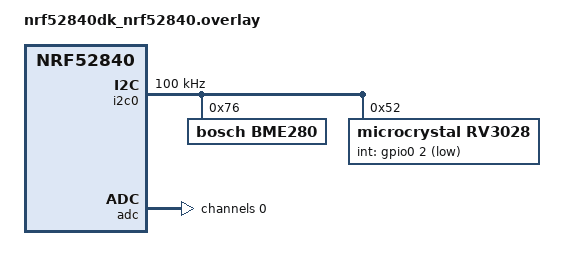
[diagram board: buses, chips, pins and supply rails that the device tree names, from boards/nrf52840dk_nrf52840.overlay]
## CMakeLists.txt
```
# SPDX-License-Identifier: Apache-2.0

cmake_minimum_required(VERSION 3.20.0)

find_package(Zephyr REQUIRED HINTS $ENV{ZEPHYR_BASE})
project(temp_sensor)

target_sources(app PRIVATE src/main.c)
target_sources(app PRIVATE src/bme280.c)
target_sources(app PRIVATE src/battery_monitor.c)
target_sources(app PRIVATE src/rv3028.c)
target_sources(app PRIVATE src/adaptive_scheduler.c)
target_sources(app PRIVATE src/ble_advertiser.c)
```

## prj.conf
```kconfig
# BLE Configuration
CONFIG_BT=y
CONFIG_BT_PERIPHERAL=y
CONFIG_BT_BROADCASTER=y
CONFIG_BT_CTLR_TX_PWR_PLUS_8=y

# I2C for BME280
CONFIG_I2C=y
CONFIG_I2C_0=y

# ADC for battery monitoring
CONFIG_ADC=y
CONFIG_ADC_ASYNC=y

# Power management
CONFIG_PM=y
CONFIG_PM_DEVICE=y
CONFIG_PM_DEVICE_POWER_DOMAIN=y

# RTC for wake-up timing
CONFIG_RTC=y
CONFIG_RTC_DRIVER=y

# Logging
CONFIG_LOG=y
CONFIG_LOG_DEFAULT_LEVEL=3

# GPIO
CONFIG_GPIO=y

# System settings
CONFIG_SERIAL=y
CONFIG_UART_CONSOLE=y
CONFIG_CONSOLE=y

# BLE advertising
CONFIG_BT_DEVICE_NAME="TempSensor"
CONFIG_BT_DEVICE_APPEARANCE=0x0540

# Power optimization
CONFIG_PM_DEVICE_RUNTIME=y
CONFIG_PM_DEVICE_POWER_DOMAIN_DYNAMIC=y
```

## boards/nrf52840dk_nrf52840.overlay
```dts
/ {
    chosen {
        zephyr,i2c = &i2c0;
        zephyr,adc = &adc;
        zephyr,rtc = &rtc0;
    };
    
    aliases {
        rtc_int = &gpio0;
    };
};

&i2c0 {
    status = "okay";
    clock-frequency = <I2C_BITRATE_STANDARD>;
    
    bme280@76 {
        compatible = "bosch,bme280";
        reg = <0x76>;
        label = "BME280";
    };
    
    rv3028@52 {
        compatible = "microcrystal,rv3028";
        reg = <0x52>;
        label = "RV3028";
        int-gpios = <&gpio0 2 GPIO_ACTIVE_LOW>;
    };
};

&adc {
    status = "okay";
    #address-cells = <1>;
    #size-cells = <0>;
    
    channel@0 {
        reg = <0>;
        zephyr,gain = "ADC_GAIN_1_4";
        zephyr,reference = "ADC_REF_INTERNAL";
        zephyr,acquisition-time = <ADC_ACQ_TIME_DEFAULT>;
        zephyr,input-positive = <2>;  /* P0.02 for VBAT_SENSE */
        zephyr,resolution = <12>;
    };
};

&gpio0 {
    status = "okay";
    
    /* RTC clock output on P0.03 */
    rtc-clockout {
        gpios = <&gpio0 3 GPIO_ACTIVE_HIGH>;
        label = "RTC_CLOCKOUT";
    };
};

&gpio1 {
    status = "okay";
};
```

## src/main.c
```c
#include <zephyr/kernel.h>
#include <zephyr/device.h>
#include <zephyr/drivers/i2c.h>
#include <zephyr/drivers/adc.h>
#include <zephyr/drivers/rtc.h>
#include <zephyr/bluetooth/bluetooth.h>
#include <zephyr/bluetooth/hci.h>
#include <zephyr/logging/log.h>
#include <zephyr/pm/pm.h>
#include <zephyr/pm/device.h>
#include <zephyr/pm/policy.h>

#include "bme280.h"
#include "battery_monitor.h"
#include "rv3028.h"
#include "adaptive_scheduler.h"
#include "ble_advertiser.h"

LOG_MODULE_REGISTER(main, LOG_LEVEL_INF);

// Power management callback
static void pm_state_set(enum pm_state state, uint8_t substate_id)
{
    ARG_UNUSED(substate_id);
    LOG_INF("Entering power state %d", state);
}

static void pm_state_exit_post_ops(enum pm_state state, uint8_t substate_id)
{
    ARG_UNUSED(state);
    ARG_UNUSED(substate_id);
    LOG_INF("Exiting power state");
}

// Power management callbacks
PM_STATE_SET_AND_EXIT_POST_OPS(pm_state_set, pm_state_exit_post_ops);

// Main application thread
static void main_thread(void)
{
    int ret;
    struct bme280_data sensor_data;
    uint16_t battery_mv;
    power_tier_t current_tier;
    uint32_t next_wake_interval;

    LOG_INF("Temperature Sensor Node Starting...");

    // Initialize subsystems
    ret = bme280_init();
    if (ret != 0) {
        LOG_ERR("Failed to initialize BME280: %d", ret);
        return;
    }

    ret = battery_monitor_init();
    if (ret != 0) {
        LOG_ERR("Failed to initialize battery monitor: %d", ret);
        return;
    }

    ret = adaptive_scheduler_init();
    if (ret != 0) {
        LOG_ERR("Failed to initialize adaptive scheduler: %d", ret);
        return;
    }

    ret = ble_advertiser_init();
    if (ret != 0) {
        LOG_ERR("Failed to initialize BLE advertiser: %d", ret);
        return;
    }

    LOG_INF("All subsystems initialized successfully");

    while (1) {
        // Read battery voltage and determine power tier
        battery_mv = battery_monitor_read_voltage();
        current_tier = adaptive_scheduler_get_tier(battery_mv);
        next_wake_interval = adaptive_scheduler_get_interval(current_tier);

        LOG_INF("Battery: %d mV, Tier: %d, Next wake: %lu ms", 
                battery_mv, current_tier, next_wake_interval);

        // Read sensor data
        ret = bme280_read_forced(&sensor_data);
        if (ret == 0) {
            LOG_INF("Sensor: T=%.2f°C, P=%.2f hPa, H=%.2f%%", 
                    sensor_data.temperature, sensor_data.pressure, sensor_data.humidity);
        } else {
            LOG_ERR("Failed to read sensor: %d", ret);
            // Use last known values or defaults
            sensor_data.temperature = 0.0f;
            sensor_data.pressure = 1013.25f;
            sensor_data.humidity = 50.0f;
        }

        // Start BLE advertising with sensor data
        ret = ble_advertiser_start(&sensor_data, battery_mv, current_tier);
        if (ret != 0) {
            LOG_ERR("Failed to start advertising: %d", ret);
        }

        // Wait for advertising to complete
        k_sleep(K_MSEC(ADV_DURATION_MS));

        // Stop advertising
        ble_advertiser_stop();

        // Set RTC alarm for next wake
        ret = adaptive_scheduler_set_next_wake(next_wake_interval);
        if (ret != 0) {
            LOG_ERR("Failed to set RTC alarm: %d", ret);
        }

        LOG_INF("Entering deep sleep for %lu ms", next_wake_interval);

        // Enter system OFF mode
        pm_state_force(0u, PM_STATE_SOFT_OFF);
        
        // This should not be reached - system will wake from RTC
        k_sleep(K_MSEC(100));
    }
}

K_THREAD_DEFINE(main_thread_id, 2048, main_thread, NULL, NULL, NULL, 7, 0, 0);
```

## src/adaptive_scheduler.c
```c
#include "adaptive_scheduler.h"
#include "rv3028.h"
#include <zephyr/device.h>
#include <zephyr/drivers/gpio.h>
#include <zephyr/logging/log.h>

LOG_MODULE_REGISTER(adaptive_scheduler, LOG_LEVEL_INF);

static const struct device *rtc_int_gpio;
static power_tier_t current_tier = POWER_TIER_NORMAL;

int adaptive_scheduler_init(void)
{
    // Initialize RV-3028 RTC
    int ret = rv3028_init();
    if (ret != 0) {
        LOG_ERR("Failed to initialize RV-3028: %d", ret);
        return ret;
    }

    // Configure RTC interrupt GPIO (P0.02)
    rtc_int_gpio = DEVICE_DT_GET(DT_ALIAS(rtc_int));
    if (!device_is_ready(rtc_int_gpio)) {
        LOG_ERR("RTC interrupt GPIO not ready");
        return -ENODEV;
    }

    // Configure as input with pull-up
    gpio_flags_t flags = GPIO_INPUT | GPIO_PULL_UP;
    ret = gpio_pin_configure(rtc_int_gpio, 2, flags);
    if (ret != 0) {
        LOG_ERR("Failed to configure RTC interrupt GPIO: %d", ret);
        return ret;
    }

    LOG_INF("Adaptive scheduler initialized with RV-3028");
    return 0;
}

power_tier_t adaptive_scheduler_get_tier(uint16_t battery_mv)
{
    power_tier_t new_tier;
    
    // Determine tier based on battery voltage with hysteresis
    if (battery_mv >= BATTERY_THRESHOLD_NORMAL_HIGH) {
        new_tier = POWER_TIER_NORMAL;
    } else if (battery_mv >= BATTERY_THRESHOLD_CONSERVE_HIGH) {
        new_tier = POWER_TIER_CONSERVE;
    } else if (battery_mv >= BATTERY_THRESHOLD_RESERVE_HIGH) {
        new_tier = POWER_TIER_RESERVE;
    } else {
        new_tier = POWER_TIER_SURVIVAL;
    }
    
    // Apply hysteresis to prevent tier flapping
    if (new_tier != current_tier) {
        // Only allow tier changes in one direction at a time
        if (new_tier > current_tier) {
            // Moving to higher power tier (lower battery) - use low threshold
            if (battery_mv <= BATTERY_THRESHOLD_NORMAL_LOW && current_tier == POWER_TIER_NORMAL) {
                new_tier = POWER_TIER_CONSERVE;
            } else if (battery_mv <= BATTERY_THRESHOLD_CONSERVE_LOW && current_tier == POWER_TIER_CONSERVE) {
                new_tier = POWER_TIER_RESERVE;
            } else if (battery_mv <= BATTERY_THRESHOLD_RESERVE_LOW && current_tier == POWER_TIER_RESERVE) {
                new_tier = POWER_TIER_SURVIVAL;
            } else {
                new_tier = current_tier; // Stay in current tier
            }
        } else {
            // Moving to lower power tier (higher battery) - use high threshold
            if (battery_mv >= BATTERY_THRESHOLD_NORMAL_HIGH && current_tier == POWER_TIER_CONSERVE) {
                new_tier = POWER_TIER_NORMAL;
            } else if (battery_mv >= BATTERY_THRESHOLD_CONSERVE_HIGH && current_tier == POWER_TIER_RESERVE) {
                new_tier = POWER_TIER_CONSERVE;
            } else if (battery_mv >= BATTERY_THRESHOLD_RESERVE_HIGH && current_tier == POWER_TIER_SURVIVAL) {
                new_tier = POWER_TIER_RESERVE;
            } else {
                new_tier = current_tier; // Stay in current tier
            }
        }
    }
    
    if (new_tier != current_tier) {
        LOG_INF("Power tier changed: %d -> %d (battery: %d mV)", current_tier, new_tier, battery_mv);
        current_tier = new_tier;
    }
    
    return current_tier;
}

uint32_t adaptive_scheduler_get_interval(power_tier_t tier)
{
    switch (tier) {
        case POWER_TIER_NORMAL:
            return WAKE_INTERVAL_NORMAL;
        case POWER_TIER_CONSERVE:
            return WAKE_INTERVAL_CONSERVE;
        case POWER_TIER_RESERVE:
            return WAKE_INTERVAL_RESERVE;
        case POWER_TIER_SURVIVAL:
            return WAKE_INTERVAL_SURVIVAL;
        default:
            return WAKE_INTERVAL_NORMAL;
    }
}

int adaptive_scheduler_set_next_wake(uint32_t interval_ms)
{
    int ret;
    
    // Clear any existing alarm
    rv3028_clear_alarm();
    
    // Set wakeup time using RV-3028
    ret = rv3028_set_wakeup_time(interval_ms / 1000);
    if (ret != 0) {
        LOG_ERR("Failed to set RV-3028 wakeup time: %d", ret);
        return ret;
    }
    
    LOG_INF("RV-3028 alarm set for %lu seconds from now", interval_ms / 1000);
    return 0;
}
```

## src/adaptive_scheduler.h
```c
#ifndef ADAPTIVE_SCHEDULER_H
#define ADAPTIVE_SCHEDULER_H

#include <zephyr/kernel.h>

// Power tiers based on battery voltage
typedef enum {
    POWER_TIER_NORMAL = 0,    // 4.2V - 3.8V: 5 min intervals
    POWER_TIER_CONSERVE = 1,  // 3.8V - 3.6V: 15 min intervals  
    POWER_TIER_RESERVE = 2,   // 3.6V - 3.4V: 30 min intervals
    POWER_TIER_SURVIVAL = 3   // 3.4V - 3.2V: 60 min intervals
} power_tier_t;

// Wake intervals for each tier (in milliseconds)
#define WAKE_INTERVAL_NORMAL    (5 * 60 * 1000)   // 5 minutes
#define WAKE_INTERVAL_CONSERVE  (15 * 60 * 1000)  // 15 minutes
#define WAKE_INTERVAL_RESERVE   (30 * 60 * 1000)  // 30 minutes
#define WAKE_INTERVAL_SURVIVAL  (60 * 60 * 1000)  // 60 minutes

// Battery voltage thresholds with hysteresis (in mV)
#define BATTERY_THRESHOLD_NORMAL_HIGH    3800
#define BATTERY_THRESHOLD_NORMAL_LOW     3600
#define BATTERY_THRESHOLD_CONSERVE_HIGH  3600
#define BATTERY_THRESHOLD_CONSERVE_LOW   3400
#define BATTERY_THRESHOLD_RESERVE_HIGH   3400
#define BATTERY_THRESHOLD_RESERVE_LOW    3200

// Function prototypes
int adaptive_scheduler_init(void);
power_tier_t adaptive_scheduler_get_tier(uint16_t battery_mv);
uint32_t adaptive_scheduler_get_interval(power_tier_t tier);
int adaptive_scheduler_set_next_wake(uint32_t interval_ms);

#endif // ADAPTIVE_SCHEDULER_H
```

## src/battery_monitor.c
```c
#include "battery_monitor.h"
#include <zephyr/device.h>
#include <zephyr/drivers/adc.h>
#include <zephyr/logging/log.h>

LOG_MODULE_REGISTER(battery_monitor, LOG_LEVEL_INF);

static const struct device *adc_dev;
static const struct adc_channel_cfg channel_cfg = {
    .gain = ADC_GAIN_1_4,
    .reference = ADC_REF_INTERNAL,
    .acquisition_time = ADC_ACQ_TIME_DEFAULT,
    .channel_id = 0,
    .differential = 0,
    .input_positive = 2,  // P0.02 for VBAT_SENSE
};

int battery_monitor_init(void)
{
    adc_dev = DEVICE_DT_GET(DT_CHOSEN(zephyr,adc));
    if (!device_is_ready(adc_dev)) {
        LOG_ERR("ADC device not ready");
        return -ENODEV;
    }

    // Configure ADC channel
    if (adc_channel_setup(adc_dev, &channel_cfg) != 0) {
        LOG_ERR("Failed to setup ADC channel");
        return -EIO;
    }

    LOG_INF("Battery monitor initialized");
    return 0;
}

uint16_t battery_monitor_read_voltage(void)
{
    int ret;
    uint16_t adc_value;
    uint16_t voltage_mv;
    struct adc_sequence sequence = {
        .buffer = &adc_value,
        .buffer_size = sizeof(adc_value),
        .resolution = ADC_RESOLUTION,
        .oversampling = 4, // Average 4 samples for better accuracy
    };

    // Read ADC value
    ret = adc_read(adc_dev, &sequence);
    if (ret != 0) {
        LOG_ERR("Failed to read ADC: %d", ret);
        return 0;
    }

    // Convert ADC value to voltage (mV)
    // Assuming voltage divider: V_bat / 2 = V_adc
    // V_bat = V_adc * 2 * ADC_REFERENCE_VOLTAGE / (2^ADC_RESOLUTION)
    voltage_mv = (uint16_t)((uint32_t)adc_value * ADC_REFERENCE_VOLTAGE * ADC_GAIN / (1 << ADC_RESOLUTION));

    LOG_DBG("ADC: %d, Voltage: %d mV", adc_value, voltage_mv);
    return voltage_mv;
}

uint8_t battery_monitor_get_percentage(uint16_t voltage_mv)
{
    uint8_t percentage;
    
    if (voltage_mv >= BATTERY_VOLTAGE_MAX) {
        percentage = 100;
    } else if (voltage_mv <= BATTERY_VOLTAGE_MIN) {
        percentage = 0;
    } else {
        // Linear interpolation between min and max voltage
        percentage = (uint8_t)((voltage_mv - BATTERY_VOLTAGE_MIN) * 100 / 
                              (BATTERY_VOLTAGE_MAX - BATTERY_VOLTAGE_MIN));
    }
    
    return percentage;
}
```

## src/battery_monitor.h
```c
#ifndef BATTERY_MONITOR_H
#define BATTERY_MONITOR_H

#include <zephyr/kernel.h>

// Battery voltage thresholds (in mV)
#define BATTERY_VOLTAGE_MAX     4200  // 4.2V fully charged
#define BATTERY_VOLTAGE_MIN     3500  // 3.5V minimum safe voltage
#define BATTERY_VOLTAGE_CRITICAL 3300 // 3.3V critical low

// ADC configuration
#define ADC_RESOLUTION          12    // 12-bit ADC
#define ADC_REFERENCE_VOLTAGE   3300  // 3.3V reference
#define ADC_GAIN                3.256 // Voltage divider ratio: (4.22M + 1.87M) / 1.87M ≈ 3.256

// Function prototypes
int battery_monitor_init(void);
uint16_t battery_monitor_read_voltage(void);
uint8_t battery_monitor_get_percentage(uint16_t voltage_mv);

#endif // BATTERY_MONITOR_H
```

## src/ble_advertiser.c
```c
#include "ble_advertiser.h"
#include <zephyr/bluetooth/bluetooth.h>
#include <zephyr/bluetooth/hci.h>
#include <zephyr/logging/log.h>
#include <zephyr/kernel.h>

LOG_MODULE_REGISTER(ble_advertiser, LOG_LEVEL_INF);

// Nordic Semiconductor Company ID
#define NORDIC_COMPANY_ID 0x0059

// Advertising data buffer
static uint8_t adv_data[31];
static uint8_t adv_data_len;

// Get advertising interval based on power tier
static uint16_t get_adv_interval(power_tier_t tier)
{
    switch (tier) {
        case POWER_TIER_NORMAL:
            return ADV_INTERVAL_NORMAL;
        case POWER_TIER_CONSERVE:
            return ADV_INTERVAL_CONSERVE;
        case POWER_TIER_RESERVE:
        case POWER_TIER_SURVIVAL:
            return ADV_INTERVAL_RESERVE;
        default:
            return ADV_INTERVAL_NORMAL;
    }
}

// Prepare advertising data with sensor information
static int prepare_adv_data(const struct bme280_data *sensor_data, 
                           uint16_t battery_mv, power_tier_t tier)
{
    struct sensor_adv_data sensor_payload;
    uint8_t *ptr = adv_data;
    uint8_t remaining = sizeof(adv_data);
    
    // Clear buffer
    memset(adv_data, 0, sizeof(adv_data));
    
    // Flags (LE General Discoverable Mode)
    if (remaining < 3) return -ENOMEM;
    *ptr++ = 2;  // Length
    *ptr++ = BT_DATA_FLAGS;
    *ptr++ = BT_LE_AD_GENERAL | BT_LE_AD_NO_BREDR;
    remaining -= 3;
    
    // Complete Local Name
    const char *name = "TempSensor";
    uint8_t name_len = strlen(name);
    if (remaining < name_len + 2) return -ENOMEM;
    *ptr++ = name_len + 1;  // Length
    *ptr++ = BT_DATA_NAME_COMPLETE;
    memcpy(ptr, name, name_len);
    ptr += name_len;
    remaining -= (name_len + 2);
    
    // Manufacturer Specific Data
    sensor_payload.version = 1;
    sensor_payload.tier = (uint8_t)tier;
    sensor_payload.battery_mv = battery_mv;
    sensor_payload.temperature = (int16_t)(sensor_data->temperature * 100);
    sensor_payload.pressure = (uint16_t)(sensor_data->pressure * 10);
    sensor_payload.humidity = (uint16_t)(sensor_data->humidity * 100);
    sensor_payload.timestamp = k_uptime_get() / 1000; // Current uptime in seconds
    
    uint8_t mfg_data_len = sizeof(sensor_payload) + 4; // +4 for company ID
    if (remaining < mfg_data_len + 1) return -ENOMEM;
    
    *ptr++ = mfg_data_len;  // Length
    *ptr++ = BT_DATA_MANUFACTURER_DATA;
    
    // Company ID (little endian)
    *ptr++ = NORDIC_COMPANY_ID & 0xFF;
    *ptr++ = (NORDIC_COMPANY_ID >> 8) & 0xFF;
    
    // Sensor payload
    memcpy(ptr, &sensor_payload, sizeof(sensor_payload));
    ptr += sizeof(sensor_payload);
    
    adv_data_len = ptr - adv_data;
    
    LOG_DBG("Advertising data prepared: %d bytes", adv_data_len);
    LOG_DBG("Payload: T=%.2f°C, P=%.1f hPa, H=%.2f%%, V=%d mV, Tier=%d",
            sensor_data->temperature, sensor_data->pressure, 
            sensor_data->humidity, battery_mv, tier);
    
    return 0;
}

int ble_advertiser_init(void)
{
    int ret;
    
    // Initialize Bluetooth
    ret = bt_enable(NULL);
    if (ret != 0) {
        LOG_ERR("Failed to enable Bluetooth: %d", ret);
        return ret;
    }
    
    LOG_INF("Bluetooth initialized successfully");
    return 0;
}

int ble_advertiser_start(const struct bme280_data *sensor_data, 
                        uint16_t battery_mv, power_tier_t tier)
{
    int ret;
    struct bt_le_adv_param adv_param = {
        .id = BT_ID_DEFAULT,
        .sid = 0,
        .secondary_max_skip = 0,
        .options = BT_LE_ADV_OPT_NONE,
        .interval_min = get_adv_interval(tier),
        .interval_max = get_adv_interval(tier),
        .peer = NULL,
    };
    
    // Prepare advertising data
    ret = prepare_adv_data(sensor_data, battery_mv, tier);
    if (ret != 0) {
        LOG_ERR("Failed to prepare advertising data: %d", ret);
        return ret;
    }
    
    // Start advertising (non-connectable)
    ret = bt_le_adv_start(&adv_param, adv_data, adv_data_len, NULL, 0);
    if (ret != 0) {
        LOG_ERR("Failed to start advertising: %d", ret);
        return ret;
    }
    
    LOG_INF("BLE advertising started (tier %d, interval %d ms)", 
            tier, get_adv_interval(tier));
    return 0;
}

int ble_advertiser_stop(void)
{
    int ret = bt_le_adv_stop();
    if (ret != 0) {
        LOG_ERR("Failed to stop advertising: %d", ret);
        return ret;
    }
    
    LOG_INF("BLE advertising stopped");
    return 0;
}
```

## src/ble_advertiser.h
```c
#ifndef BLE_ADVERTISER_H
#define BLE_ADVERTISER_H

#include <zephyr/kernel.h>
#include "bme280.h"
#include "adaptive_scheduler.h"

// BLE advertising configuration
#define ADV_DURATION_MS        30000  // 30 seconds advertising duration
#define ADV_INTERVAL_NORMAL    1000   // 1 Hz for normal tier
#define ADV_INTERVAL_CONSERVE  5000   // 0.2 Hz for conserve tier
#define ADV_INTERVAL_RESERVE   10000  // 0.1 Hz for reserve tier

// Manufacturer data structure (custom payload)
struct sensor_adv_data {
    uint8_t version;           // Protocol version (1)
    uint8_t tier;              // Power tier
    uint16_t battery_mv;       // Battery voltage in mV
    int16_t temperature;       // Temperature * 100 (to preserve 2 decimal places)
    uint16_t pressure;         // Pressure * 10 (to preserve 1 decimal place)
    uint16_t humidity;         // Humidity * 100 (to preserve 2 decimal places)
    uint32_t timestamp;        // Unix timestamp (if available)
} __attribute__((packed));

// Function prototypes
int ble_advertiser_init(void);
int ble_advertiser_start(const struct bme280_data *sensor_data, uint16_t battery_mv, power_tier_t tier);
int ble_advertiser_stop(void);

#endif // BLE_ADVERTISER_H
```

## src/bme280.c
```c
#include "bme280.h"
#include <zephyr/device.h>
#include <zephyr/drivers/i2c.h>
#include <zephyr/logging/log.h>
#include <zephyr/kernel.h>

LOG_MODULE_REGISTER(bme280, LOG_LEVEL_INF);

static const struct device *i2c_dev;
static struct bme280_calib_data calib_data;

// I2C read/write helper functions
static int bme280_read_reg(uint8_t reg, uint8_t *data, size_t len)
{
    return i2c_write_read(i2c_dev, BME280_I2C_ADDR, &reg, 1, data, len);
}

static int bme280_write_reg(uint8_t reg, uint8_t data)
{
    uint8_t buf[2] = {reg, data};
    return i2c_write(i2c_dev, buf, 2, BME280_I2C_ADDR);
}

static uint8_t bme280_read_reg8(uint8_t reg)
{
    uint8_t data;
    if (bme280_read_reg(reg, &data, 1) != 0) {
        return 0;
    }
    return data;
}

static uint16_t bme280_read_reg16(uint8_t reg)
{
    uint8_t data[2];
    if (bme280_read_reg(reg, data, 2) != 0) {
        return 0;
    }
    return (data[0] << 8) | data[1];
}

static int16_t bme280_read_reg16_signed(uint8_t reg)
{
    return (int16_t)bme280_read_reg16(reg);
}

int bme280_init(void)
{
    uint8_t chip_id;
    
    i2c_dev = DEVICE_DT_GET(DT_CHOSEN(zephyr,i2c));
    if (!device_is_ready(i2c_dev)) {
        LOG_ERR("I2C device not ready");
        return -ENODEV;
    }

    // Check chip ID
    chip_id = bme280_read_reg8(BME280_REG_CHIP_ID);
    if (chip_id != 0x60) {
        LOG_ERR("Invalid chip ID: 0x%02x", chip_id);
        return -ENODEV;
    }

    LOG_INF("BME280 found, chip ID: 0x%02x", chip_id);

    // Read calibration data
    if (bme280_read_calibration_data() != 0) {
        LOG_ERR("Failed to read calibration data");
        return -EIO;
    }

    // Configure humidity control register
    if (bme280_write_reg(BME280_REG_CTRL_HUM, BME280_CTRL_HUM_OSRS_H_1X) != 0) {
        LOG_ERR("Failed to configure humidity control");
        return -EIO;
    }

    // Configure measurement control register for forced mode
    uint8_t ctrl_meas = BME280_CTRL_MEAS_OSRS_T_1X | 
                       BME280_CTRL_MEAS_OSRS_P_1X | 
                       BME280_CTRL_MEAS_MODE_FORCED;
    
    if (bme280_write_reg(BME280_REG_CTRL_MEAS, ctrl_meas) != 0) {
        LOG_ERR("Failed to configure measurement control");
        return -EIO;
    }

    LOG_INF("BME280 initialized successfully");
    return 0;
}

int bme280_read_calibration_data(void)
{
    // Temperature calibration
    calib_data.dig_T1 = bme280_read_reg16(BME280_REG_DIG_T1);
    calib_data.dig_T2 = bme280_read_reg16_signed(BME280_REG_DIG_T2);
    calib_data.dig_T3 = bme280_read_reg16_signed(BME280_REG_DIG_T3);

    // Pressure calibration
    calib_data.dig_P1 = bme280_read_reg16(BME280_REG_DIG_P1);
    calib_data.dig_P2 = bme280_read_reg16_signed(BME280_REG_DIG_P2);
    calib_data.dig_P3 = bme280_read_reg16_signed(BME280_REG_DIG_P3);
    calib_data.dig_P4 = bme280_read_reg16_signed(BME280_REG_DIG_P4);
    calib_data.dig_P5 = bme280_read_reg16_signed(BME280_REG_DIG_P5);
    calib_data.dig_P6 = bme280_read_reg16_signed(BME280_REG_DIG_P6);
    calib_data.dig_P7 = bme280_read_reg16_signed(BME280_REG_DIG_P7);
    calib_data.dig_P8 = bme280_read_reg16_signed(BME280_REG_DIG_P8);
    calib_data.dig_P9 = bme280_read_reg16_signed(BME280_REG_DIG_P9);

    // Humidity calibration
    calib_data.dig_H1 = bme280_read_reg8(BME280_REG_DIG_H1);
    calib_data.dig_H2 = bme280_read_reg16_signed(BME280_REG_DIG_H2);
    calib_data.dig_H3 = bme280_read_reg8(BME280_REG_DIG_H3);
    
    uint8_t h4_msb = bme280_read_reg8(BME280_REG_DIG_H4);
    uint8_t h4_lsb = bme280_read_reg8(BME280_REG_DIG_H4 + 1);
    calib_data.dig_H4 = (h4_msb << 4) | (h4_lsb & 0x0F);
    
    uint8_t h5_msb = bme280_read_reg8(BME280_REG_DIG_H5 + 1);
    uint8_t h5_lsb = bme280_read_reg8(BME280_REG_DIG_H5);
    calib_data.dig_H5 = (h5_msb << 4) | ((h5_lsb >> 4) & 0x0F);
    
    calib_data.dig_H6 = (int8_t)bme280_read_reg8(BME280_REG_DIG_H6);

    LOG_INF("Calibration data loaded");
    return 0;
}

int bme280_read_forced(struct bme280_data *data)
{
    uint8_t raw_data[8];
    int32_t adc_T, adc_P, adc_H;
    int32_t var1, var2, t_fine;
    int32_t p, h;

    // Trigger forced measurement
    uint8_t ctrl_meas = BME280_CTRL_MEAS_OSRS_T_1X | 
                       BME280_CTRL_MEAS_OSRS_P_1X | 
                       BME280_CTRL_MEAS_MODE_FORCED;
    
    if (bme280_write_reg(BME280_REG_CTRL_MEAS, ctrl_meas) != 0) {
        LOG_ERR("Failed to trigger measurement");
        return -EIO;
    }

    // Wait for measurement to complete (max 10ms)
    k_sleep(K_MSEC(10));

    // Read all sensor data
    if (bme280_read_reg(BME280_REG_PRESS_MSB, raw_data, 8) != 0) {
        LOG_ERR("Failed to read sensor data");
        return -EIO;
    }

    // Extract raw ADC values
    adc_P = ((int32_t)raw_data[0] << 12) | ((int32_t)raw_data[1] << 4) | (raw_data[2] >> 4);
    adc_T = ((int32_t)raw_data[3] << 12) | ((int32_t)raw_data[4] << 4) | (raw_data[5] >> 4);
    adc_H = ((int32_t)raw_data[6] << 8) | raw_data[7];

    // Temperature compensation (returns temperature in 0.01°C)
    var1 = ((((adc_T >> 3) - ((int32_t)calib_data.dig_T1 << 1))) * 
            ((int32_t)calib_data.dig_T2)) >> 11;
    var2 = (((((adc_T >> 4) - ((int32_t)calib_data.dig_T1)) * 
              ((adc_T >> 4) - ((int32_t)calib_data.dig_T1))) >> 12) * 
            ((int32_t)calib_data.dig_T3)) >> 14;
    t_fine = var1 + var2;
    data->temperature = (float)((t_fine * 5 + 128) >> 8) / 100.0f;

    // Pressure compensation
    var1 = (((int32_t)t_fine) >> 1) - (int32_t)64000;
    var2 = (((var1 >> 2) * (var1 >> 2)) >> 11) * ((int32_t)calib_data.dig_P6);
    var2 = var2 + ((var1 * ((int32_t)calib_data.dig_P5)) << 1);
    var2 = (var2 >> 2) + (((int32_t)calib_data.dig_P4) << 16);
    var1 = (((calib_data.dig_P3 * (((var1 >> 2) * (var1 >> 2)) >> 13)) >> 3) + 
            ((((int32_t)calib_data.dig_P2) * var1) >> 1)) >> 18;
    var1 = ((((32768 + var1)) * ((int32_t)calib_data.dig_P1)) >> 15);
    if (var1 == 0) {
        return -EIO;
    }
    p = (((uint32_t)(((int32_t)1048576) - adc_P) - (var2 >> 12))) * 3125;
    if (p < 0x80000000) {
        p = (p << 1) / ((uint32_t)var1);
    } else {
        p = (p / (uint32_t)var1) * 2;
    }
    var1 = (((int32_t)calib_data.dig_P9) * ((int32_t)(((p >> 3) * (p >> 3)) >> 13))) >> 12;
    var2 = (((int32_t)(p >> 2)) * ((int32_t)calib_data.dig_P8)) >> 13;
    p = (uint32_t)((int32_t)p + ((var1 + var2 + calib_data.dig_P7) >> 4));
    data->pressure = (float)p / 256.0f;

    // Humidity compensation
    var1 = (t_fine - ((int32_t)76800));
    var2 = ((((adc_H << 14) - (((int32_t)calib_data.dig_H4) << 20) - 
              (((int32_t)calib_data.dig_H5) * var1)) + (int32_t)16384) >> 15) * 
           (((((((var1 * ((int32_t)calib_data.dig_H6)) >> 10) * 
                (((var1 * ((int32_t)calib_data.dig_H3)) >> 11) + (int32_t)32768)) >> 10) + 
              (int32_t)2097152) * ((int32_t)calib_data.dig_H2) + 8192) >> 14);
    var1 = var1 - ((var2 * (((var1 * ((int32_t)calib_data.dig_H6)) >> 10) * 
                            (((var1 * ((int32_t)calib_data.dig_H3)) >> 11) + (int32_t)32768))) >> 10);
    var1 = (var1 < 0 ? 0 : var1);
    var1 = (var1 > 419430400 ? 419430400 : var1);
    h = (uint32_t)(var1 >> 12);
    data->humidity = (float)h / 1024.0f;

    return 0;
}
```

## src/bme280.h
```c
#ifndef BME280_H
#define BME280_H

#include <zephyr/kernel.h>

// BME280 I2C address
#define BME280_I2C_ADDR 0x76

// BME280 registers
#define BME280_REG_TEMP_MSB    0xFA
#define BME280_REG_TEMP_LSB    0xFB
#define BME280_REG_TEMP_XLSB   0xFC
#define BME280_REG_PRESS_MSB   0xF7
#define BME280_REG_PRESS_LSB   0xF8
#define BME280_REG_PRESS_XLSB  0xF9
#define BME280_REG_HUM_MSB     0xFD
#define BME280_REG_HUM_LSB     0xFE
#define BME280_REG_CONFIG      0xF5
#define BME280_REG_CTRL_MEAS   0xF4
#define BME280_REG_CTRL_HUM    0xF2
#define BME280_REG_CHIP_ID     0xD0
#define BME280_REG_RESET       0xE0

// Calibration registers
#define BME280_REG_DIG_T1      0x88
#define BME280_REG_DIG_T2      0x8A
#define BME280_REG_DIG_T3      0x8C
#define BME280_REG_DIG_P1      0x8E
#define BME280_REG_DIG_P2      0x90
#define BME280_REG_DIG_P3      0x92
#define BME280_REG_DIG_P4      0x94
#define BME280_REG_DIG_P5      0x96
#define BME280_REG_DIG_P6      0x98
#define BME280_REG_DIG_P7      0x9A
#define BME280_REG_DIG_P8      0x9C
#define BME280_REG_DIG_P9      0x9E
#define BME280_REG_DIG_H1      0xA1
#define BME280_REG_DIG_H2      0xE1
#define BME280_REG_DIG_H3      0xE3
#define BME280_REG_DIG_H4      0xE4
#define BME280_REG_DIG_H5      0xE5
#define BME280_REG_DIG_H6      0xE7

// Control register values
#define BME280_CTRL_HUM_OSRS_H_1X    0x01
#define BME280_CTRL_MEAS_OSRS_T_1X   0x20
#define BME280_CTRL_MEAS_OSRS_P_1X   0x04
#define BME280_CTRL_MEAS_MODE_FORCED 0x01

// Sensor data structure
struct bme280_data {
    float temperature;  // Celsius
    float pressure;     // hPa
    float humidity;     // %
};

// Calibration data structure
struct bme280_calib_data {
    uint16_t dig_T1;
    int16_t dig_T2;
    int16_t dig_T3;
    uint16_t dig_P1;
    int16_t dig_P2;
    int16_t dig_P3;
    int16_t dig_P4;
    int16_t dig_P5;
    int16_t dig_P6;
    int16_t dig_P7;
    int16_t dig_P8;
    int16_t dig_P9;
    uint8_t dig_H1;
    int16_t dig_H2;
    uint8_t dig_H3;
    int16_t dig_H4;
    int16_t dig_H5;
    int8_t dig_H6;
};

// Function prototypes
int bme280_init(void);
int bme280_read_forced(struct bme280_data *data);
int bme280_read_calibration_data(void);

#endif // BME280_H
```

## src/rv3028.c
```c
#include "rv3028.h"
#include <zephyr/device.h>
#include <zephyr/drivers/i2c.h>
#include <zephyr/logging/log.h>
#include <zephyr/kernel.h>

LOG_MODULE_REGISTER(rv3028, LOG_LEVEL_INF);

static const struct device *i2c_dev;

// Helper functions for BCD conversion
static uint8_t bcd_to_bin(uint8_t bcd)
{
    return ((bcd >> 4) * 10) + (bcd & 0x0F);
}

static uint8_t bin_to_bcd(uint8_t bin)
{
    return ((bin / 10) << 4) | (bin % 10);
}

// I2C read/write helper functions
static int rv3028_read_reg(uint8_t reg, uint8_t *data, size_t len)
{
    return i2c_write_read(i2c_dev, RV3028_I2C_ADDR, &reg, 1, data, len);
}

static int rv3028_write_reg(uint8_t reg, uint8_t data)
{
    uint8_t buf[2] = {reg, data};
    return i2c_write(i2c_dev, buf, 2, RV3028_I2C_ADDR);
}

static uint8_t rv3028_read_reg8(uint8_t reg)
{
    uint8_t data;
    if (rv3028_read_reg(reg, &data, 1) != 0) {
        return 0;
    }
    return data;
}

int rv3028_init(void)
{
    uint8_t status, ctrl1, ctrl2;
    
    i2c_dev = DEVICE_DT_GET(DT_CHOSEN(zephyr,i2c));
    if (!device_is_ready(i2c_dev)) {
        LOG_ERR("I2C device not ready");
        return -ENODEV;
    }

    // Read status register
    status = rv3028_read_reg8(RV3028_REG_STATUS);
    LOG_INF("RV3028 status: 0x%02x", status);

    // Check for voltage low flag
    if (status & RV3028_STATUS_VLF) {
        LOG_WRN("RV3028 voltage low flag set");
    }

    // Read control registers
    ctrl1 = rv3028_read_reg8(RV3028_REG_CONTROL1);
    ctrl2 = rv3028_read_reg8(RV3028_REG_CONTROL2);
    LOG_INF("RV3028 control1: 0x%02x, control2: 0x%02x", ctrl1, ctrl2);

    // Configure for 24-hour mode and enable clock interrupt
    ctrl1 |= RV3028_CTRL1_12_24 | RV3028_CTRL1_CLKINT;
    rv3028_write_reg(RV3028_REG_CONTROL1, ctrl1);

    // Clear any pending flags
    ctrl2 &= ~(RV3028_CTRL2_AF | RV3028_CTRL2_TF | RV3028_CTRL2_UF);
    rv3028_write_reg(RV3028_REG_CONTROL2, ctrl2);

    LOG_INF("RV3028 initialized successfully");
    return 0;
}

int rv3028_get_time(struct rv3028_time *time)
{
    uint8_t data[7];
    int ret;

    ret = rv3028_read_reg(RV3028_REG_SECONDS, data, 7);
    if (ret != 0) {
        LOG_ERR("Failed to read time: %d", ret);
        return ret;
    }

    time->seconds = bcd_to_bin(data[0] & 0x7F);
    time->minutes = bcd_to_bin(data[1] & 0x7F);
    time->hours = bcd_to_bin(data[2] & 0x3F);
    time->weekday = data[3] & 0x07;
    time->date = bcd_to_bin(data[4] & 0x3F);
    time->month = bcd_to_bin(data[5] & 0x1F);
    time->year = 2000 + bcd_to_bin(data[6]);

    return 0;
}

int rv3028_set_time(const struct rv3028_time *time)
{
    uint8_t data[7];
    int ret;

    data[0] = bin_to_bcd(time->seconds);
    data[1] = bin_to_bcd(time->minutes);
    data[2] = bin_to_bcd(time->hours);
    data[3] = time->weekday;
    data[4] = bin_to_bcd(time->date);
    data[5] = bin_to_bcd(time->month);
    data[6] = bin_to_bcd(time->year - 2000);

    // Stop clock before writing
    uint8_t ctrl2 = rv3028_read_reg8(RV3028_REG_CONTROL2);
    ctrl2 |= RV3028_CTRL2_STOP;
    rv3028_write_reg(RV3028_REG_CONTROL2, ctrl2);

    // Write time data
    ret = i2c_write(i2c_dev, data, 7, RV3028_I2C_ADDR);
    if (ret != 0) {
        LOG_ERR("Failed to write time: %d", ret);
        return ret;
    }

    // Start clock
    ctrl2 &= ~RV3028_CTRL2_STOP;
    rv3028_write_reg(RV3028_REG_CONTROL2, ctrl2);

    LOG_INF("Time set to: %04d-%02d-%02d %02d:%02d:%02d", 
            time->year, time->month, time->date, 
            time->hours, time->minutes, time->seconds);

    return 0;
}

int rv3028_set_alarm(const struct rv3028_alarm *alarm)
{
    uint8_t data[5];
    int ret;

    data[0] = bin_to_bcd(alarm->seconds);
    data[1] = bin_to_bcd(alarm->minutes);
    data[2] = bin_to_bcd(alarm->hours);
    data[3] = alarm->weekday;
    data[4] = bin_to_bcd(alarm->date);

    ret = i2c_write(i2c_dev, data, 5, RV3028_I2C_ADDR);
    if (ret != 0) {
        LOG_ERR("Failed to set alarm: %d", ret);
        return ret;
    }

    LOG_INF("Alarm set to: %02d:%02d:%02d", 
            alarm->hours, alarm->minutes, alarm->seconds);

    return 0;
}

int rv3028_clear_alarm(void)
{
    uint8_t ctrl2 = rv3028_read_reg8(RV3028_REG_CONTROL2);
    ctrl2 &= ~RV3028_CTRL2_AF;
    return rv3028_write_reg(RV3028_REG_CONTROL2, ctrl2);
}

int rv3028_enable_alarm_interrupt(void)
{
    uint8_t ctrl2 = rv3028_read_reg8(RV3028_REG_CONTROL2);
    ctrl2 |= RV3028_CTRL2_AIE;
    return rv3028_write_reg(RV3028_REG_CONTROL2, ctrl2);
}

int rv3028_disable_alarm_interrupt(void)
{
    uint8_t ctrl2 = rv3028_read_reg8(RV3028_REG_CONTROL2);
    ctrl2 &= ~RV3028_CTRL2_AIE;
    return rv3028_write_reg(RV3028_REG_CONTROL2, ctrl2);
}

int rv3028_set_wakeup_time(uint32_t seconds_from_now)
{
    struct rv3028_time current_time;
    struct rv3028_alarm alarm;
    uint32_t target_seconds;
    int ret;

    // Get current time
    ret = rv3028_get_time(&current_time);
    if (ret != 0) {
        return ret;
    }

    // Calculate target time
    target_seconds = (current_time.hours * 3600) + 
                    (current_time.minutes * 60) + 
                    current_time.seconds + 
                    seconds_from_now;

    // Convert back to time components
    alarm.hours = (target_seconds / 3600) % 24;
    alarm.minutes = (target_seconds / 60) % 60;
    alarm.seconds = target_seconds % 60;
    alarm.weekday = current_time.weekday;
    alarm.date = current_time.date;

    // Set alarm
    ret = rv3028_set_alarm(&alarm);
    if (ret != 0) {
        return ret;
    }

    // Enable alarm interrupt
    return rv3028_enable_alarm_interrupt();
}
```

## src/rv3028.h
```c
#ifndef RV3028_H
#define RV3028_H

#include <zephyr/kernel.h>

// RV-3028 I2C address
#define RV3028_I2C_ADDR 0x52

// RV-3028 registers
#define RV3028_REG_SECONDS      0x00
#define RV3028_REG_MINUTES      0x01
#define RV3028_REG_HOURS        0x02
#define RV3028_REG_WEEKDAY      0x03
#define RV3028_REG_DATE         0x04
#define RV3028_REG_MONTH        0x05
#define RV3028_REG_YEAR         0x06
#define RV3028_REG_ALARM_SEC    0x07
#define RV3028_REG_ALARM_MIN    0x08
#define RV3028_REG_ALARM_HOUR   0x09
#define RV3028_REG_ALARM_WEEK   0x0A
#define RV3028_REG_ALARM_DATE   0x0B
#define RV3028_REG_STATUS       0x0E
#define RV3028_REG_CONTROL1     0x0F
#define RV3028_REG_CONTROL2     0x10
#define RV3028_REG_CONTROL3     0x11
#define RV3028_REG_TIMESTAMP0   0x1A
#define RV3028_REG_TIMESTAMP1   0x1B
#define RV3028_REG_TIMESTAMP2   0x1C
#define RV3028_REG_TIMESTAMP3   0x1D
#define RV3028_REG_TIMESTAMP4   0x1E
#define RV3028_REG_TIMESTAMP5   0x1F

// Control register bits
#define RV3028_CTRL1_EERD       0x80  // EEPROM read enable
#define RV3028_CTRL1_WADA       0x40  // Week/date alarm
#define RV3028_CTRL1_UTSM       0x20  // Update time stamp mode
#define RV3028_CTRL1_12_24      0x10  // 12/24 hour mode
#define RV3028_CTRL1_RESET      0x08  // Software reset
#define RV3028_CTRL1_EERE       0x04  // EEPROM read enable
#define RV3028_CTRL1_TD         0x02  // Temperature compensation disable
#define RV3028_CTRL1_CLKINT     0x01  // Clock interrupt enable

#define RV3028_CTRL2_HF         0x80  // High frequency output
#define RV3028_CTRL2_AF         0x40  // Alarm flag
#define RV3028_CTRL2_TF         0x20  // Timer flag
#define RV3028_CTRL2_UF         0x10  // Update flag
#define RV3028_CTRL2_AIE        0x08  // Alarm interrupt enable
#define RV3028_CTRL2_TIE        0x04  // Timer interrupt enable
#define RV3028_CTRL2_UIE        0x02  // Update interrupt enable
#define RV3028_CTRL2_STOP       0x01  // Stop clock

// Status register bits
#define RV3028_STATUS_VLF       0x80  // Voltage low flag
#define RV3028_STATUS_AF        0x40  // Alarm flag
#define RV3028_STATUS_TF        0x20  // Timer flag
#define RV3028_STATUS_UF        0x10  // Update flag
#define RV3028_STATUS_BSF       0x08  // Battery switch flag
#define RV3028_STATUS_CLKF      0x04  // Clock fail flag
#define RV3028_STATUS_EEBUSY    0x02  // EEPROM busy
#define RV3028_STATUS_BUSY      0x01  // Busy

// Time structure
struct rv3028_time {
    uint8_t seconds;
    uint8_t minutes;
    uint8_t hours;
    uint8_t weekday;
    uint8_t date;
    uint8_t month;
    uint16_t year;
};

// Alarm structure
struct rv3028_alarm {
    uint8_t seconds;
    uint8_t minutes;
    uint8_t hours;
    uint8_t weekday;
    uint8_t date;
};

// Function prototypes
int rv3028_init(void);
int rv3028_get_time(struct rv3028_time *time);
int rv3028_set_time(const struct rv3028_time *time);
int rv3028_set_alarm(const struct rv3028_alarm *alarm);
int rv3028_clear_alarm(void);
int rv3028_enable_alarm_interrupt(void);
int rv3028_disable_alarm_interrupt(void);
int rv3028_set_wakeup_time(uint32_t seconds_from_now);

#endif // RV3028_H
```
